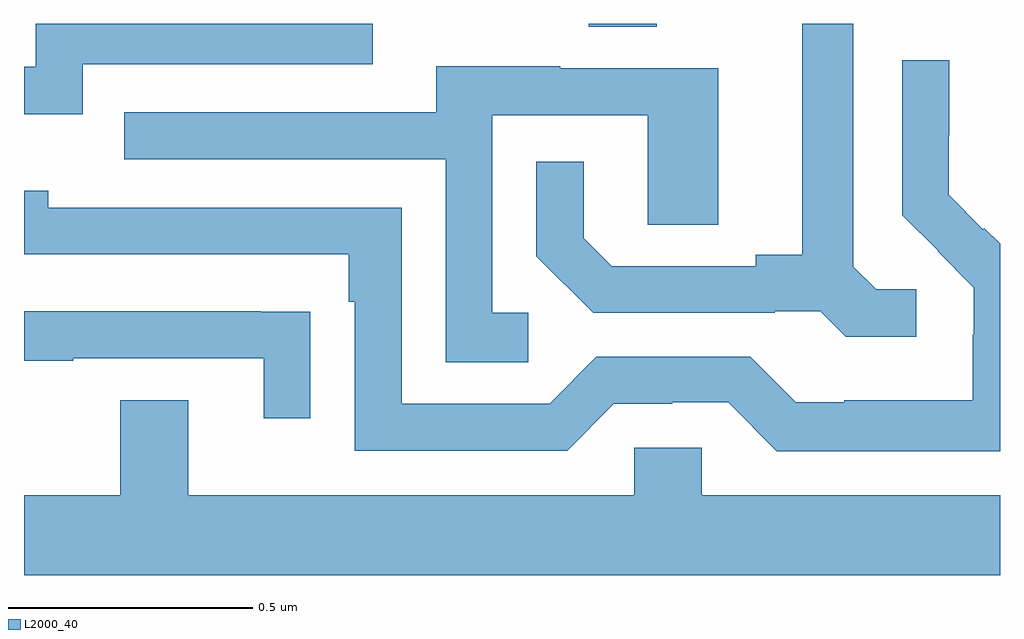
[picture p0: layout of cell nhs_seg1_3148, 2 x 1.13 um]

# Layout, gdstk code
import gdstk
lib = gdstk.Library(unit=1e-6, precision=1e-09)
def R(c, l, rs):  # rectangles x0, y0, x1, y1
    for r in rs: c.add(gdstk.rectangle(r[:2], r[2:], *l))
def P(c, l, *ps):  # polygons
    for p in ps: c.add(gdstk.Polygon(p, *l))
L2000_40 = (2000, 40)

nhs_seg1_3148 = lib.new_cell('nhs_seg1_3148')
R(nhs_seg1_3148, L2000_40, [(151.157,550.192,151.297,550.199)])
P(nhs_seg1_3148, L2000_40, [(150.12,550.116),(150.715,550.116),(150.715,550.199),(150.024,550.199),(150.024,550.11),(150,550.11),(150,550.013),(150.12,550.013)],
  [(151.828,549.654),(151.746,549.654),(151.699,549.701),(151.699,550.199),(151.595,550.199),(151.595,549.725),(151.499,549.725),(151.499,549.702),(151.204,549.702),(151.147,549.759),(151.147,549.916),(151.05,549.916),(151.05,549.722),(151.166,549.606),(151.538,549.606),(151.538,549.609),(151.632,549.609),(151.684,549.557),(151.828,549.557)],
  [(152,549.748),(151.968,549.78),(151.965,549.777),(151.895,549.848),(151.895,549.97),(151.896,549.97),(151.896,550.124),(151.8,550.124),(151.8,549.806),(151.873,549.733),(151.872,549.732),(151.946,549.658),(151.946,549.561),(151.944,549.561),(151.944,549.427),(151.681,549.427),(151.681,549.423),(151.581,549.423),(151.488,549.516),(151.173,549.516),(151.077,549.42),(150.774,549.42),(150.774,549.822),(150.05,549.822),(150.05,549.856),(150,549.856),(150,549.726),(150.665,549.726),(150.665,549.629),(150.678,549.629),(150.678,549.324),(151.113,549.324),(151.209,549.42),(151.328,549.42),(151.328,549.423),(151.443,549.423),(151.543,549.323),(152,549.323)],
  [(151.033,549.606),(150.96,549.606),(150.96,550.011),(151.278,550.011),(151.278,549.787),(151.423,549.787),(151.423,550.107),(151.099,550.107),(151.099,550.111),(150.845,550.111),(150.845,550.017),(150.205,550.017),(150.205,549.921),(150.864,549.921),(150.864,549.505),(151.033,549.505)],
  [(150.587,549.608),(150.485,549.608),(150.485,549.609),(150,549.609),(150,549.508),(150.101,549.508),(150.101,549.513),(150.491,549.513),(150.491,549.39),(150.587,549.39)],
  [(152,549.232),(151.389,549.232),(151.389,549.33),(151.251,549.33),(151.251,549.232),(150.337,549.232),(150.337,549.427),(150.197,549.427),(150.197,549.232),(150,549.232),(150,549.068),(152,549.068)])

lib.write_gds('nhs_seg1_3148.gds')
